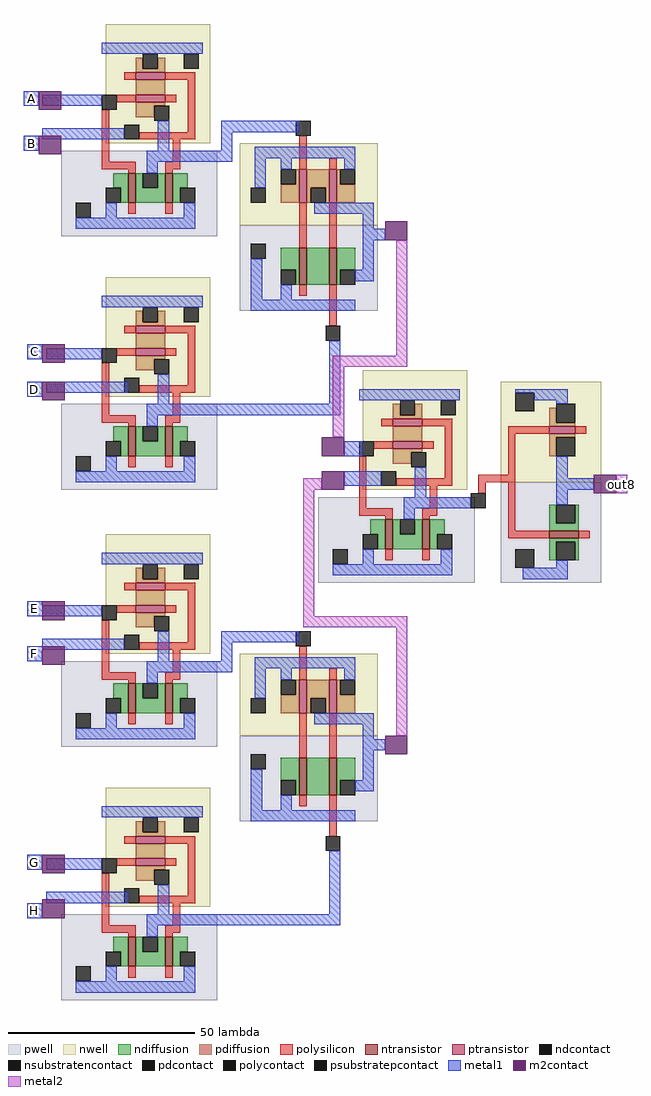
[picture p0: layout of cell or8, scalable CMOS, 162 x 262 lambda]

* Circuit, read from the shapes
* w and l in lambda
.subckt or8 A B C D E F G GND! H Vdd! out8
M1 or4_1/nand2_0/B G GND! GND! nfet w=8 l=2
M2 or4_1/nand2_0/A E GND! GND! nfet w=8 l=2
M3 or4_0/nand2_0/B C GND! GND! nfet w=8 l=2
M4 or4_0/nand2_0/A A GND! GND! nfet w=8 l=2
M5 GND! H or4_1/nand2_0/B GND! nfet w=8 l=2
M6 GND! F or4_1/nand2_0/A GND! nfet w=8 l=2
M7 GND! D or4_0/nand2_0/B GND! nfet w=8 l=2
M8 GND! B or4_0/nand2_0/A GND! nfet w=8 l=2
M9 n1 or4_1/nand2_0/A GND! GND! nfet w=10 l=2
M10 n2 or4_0/nand2_0/A GND! GND! nfet w=10 l=2
M11 nor2_0/B or4_1/nand2_0/B n1 GND! nfet w=10 l=2
M12 nor2_0/A or4_0/nand2_0/B n2 GND! nfet w=10 l=2
M13 inv_0/in nor2_0/A GND! GND! nfet w=8 l=2
M14 GND! nor2_0/B inv_0/in GND! nfet w=8 l=2
M15 out8 inv_0/in GND! GND! nfet w=8 l=2
M16 n3 G or4_1/nand2_0/B Vdd! pfet w=8 l=2
M17 Vdd! H n3 Vdd! pfet w=8 l=2
M18 n4 E or4_1/nand2_0/A Vdd! pfet w=8 l=2
M19 Vdd! F n4 Vdd! pfet w=8 l=2
M20 n5 C or4_0/nand2_0/B Vdd! pfet w=8 l=2
M21 Vdd! D n5 Vdd! pfet w=8 l=2
M22 n6 A or4_0/nand2_0/A Vdd! pfet w=8 l=2
M23 Vdd! B n6 Vdd! pfet w=8 l=2
M24 nor2_0/B or4_1/nand2_0/A Vdd! Vdd! pfet w=9 l=2
M25 nor2_0/A or4_0/nand2_0/A Vdd! Vdd! pfet w=9 l=2
M26 Vdd! or4_1/nand2_0/B nor2_0/B Vdd! pfet w=9 l=2
M27 Vdd! or4_0/nand2_0/B nor2_0/A Vdd! pfet w=9 l=2
M28 n7 nor2_0/A inv_0/in Vdd! pfet w=8 l=2
M29 Vdd! nor2_0/B n7 Vdd! pfet w=8 l=2
M30 Vdd! inv_0/in out8 Vdd! pfet w=7 l=2
.ends

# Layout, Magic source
magic
tech scmos
<< polysilicon >>
rect 115 2 123 4
rect 115 -1 117 2
<< polycontact >>
rect 113 -5 117 -1
<< metal1 >>
rect -7 103 -3 107
rect -7 91 -3 95
rect -6 35 -2 39
rect -6 25 -2 29
rect 79 9 84 13
rect 79 1 89 5
rect 144 0 146 3
rect 108 -5 113 -2
rect -6 -34 -2 -30
rect -6 -46 -2 -42
rect -6 -102 -2 -98
rect -6 -115 -2 -111
<< m2contact >>
rect -3 102 3 107
rect -3 90 3 95
rect 90 67 96 72
rect -2 34 4 39
rect -2 24 4 29
rect 73 9 79 14
rect 73 0 79 5
rect 146 -1 152 4
rect -2 -35 4 -30
rect -2 -47 4 -42
rect 90 -71 96 -66
rect -2 -103 4 -98
rect -2 -115 4 -110
<< metal2 >>
rect 93 36 96 67
rect 76 33 96 36
rect 76 14 79 33
rect 68 0 73 3
rect 68 -34 71 0
rect 152 -1 155 4
rect 68 -37 96 -34
rect 93 -66 96 -37
use or4  or4_0
transform 1 0 50 0 1 52
box -52 -52 40 73
use or4  or4_1
transform 1 0 50 0 1 -85
box -52 -52 40 73
use nor2  nor2_0
transform 1 0 66 0 1 -15
box 6 -10 48 47
use inv  inv_0
transform 1 0 133 0 1 10
box -12 -35 15 19
<< labels >>
rlabel metal2 152 -1 155 4 3 out8
rlabel metal1 -7 103 -3 107 7 A
rlabel metal1 -7 91 -3 95 7 B
rlabel metal1 -6 35 -2 39 7 C
rlabel metal1 -6 25 -2 29 7 D
rlabel metal1 -6 -34 -2 -30 7 E
rlabel metal1 -6 -46 -2 -42 7 F
rlabel metal1 -6 -102 -2 -98 7 G
rlabel metal1 -6 -115 -2 -111 7 H
<< end >>

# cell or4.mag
magic
tech scmos
<< metal1 >>
rect -52 51 -36 54
rect -52 42 -30 45
rect -4 44 17 47
rect -4 39 -1 44
rect -14 36 -1 39
rect 34 15 40 18
rect -51 -17 -36 -14
rect -51 -26 -29 -23
rect 25 -29 28 -12
rect -16 -32 28 -29
use nand2  nand2_0
transform 1 0 -9 0 1 3
box 10 -15 47 44
use nor2  nor2_0
transform 1 0 -53 0 1 26
box 6 -10 48 47
use nor2  nor2_1
transform 1 0 -53 0 1 -42
box 6 -10 48 47
<< labels >>
rlabel metal1 -50 -25 -50 -25 3 d
rlabel metal1 -50 -16 -50 -16 3 c
rlabel metal1 -51 52 -51 52 3 a
rlabel metal1 -51 43 -51 43 3 b
rlabel metal1 39 16 39 16 7 out4
<< end >>

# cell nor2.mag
magic
tech scmos
<< nwell >>
rect 18 15 46 47
<< pwell >>
rect 6 -10 48 13
<< ntransistor >>
rect 24 -1 26 7
rect 34 -1 36 7
<< ptransistor >>
rect 26 32 34 34
rect 26 26 34 28
<< ndiffusion >>
rect 20 3 24 7
rect 22 -1 24 3
rect 26 3 28 7
rect 32 3 34 7
rect 26 -1 34 3
rect 36 3 40 7
rect 36 -1 38 3
<< pdiffusion >>
rect 26 35 28 38
rect 32 35 34 38
rect 26 34 34 35
rect 26 28 34 32
rect 26 25 34 26
rect 26 22 31 25
<< ndcontact >>
rect 18 -1 22 3
rect 28 3 32 7
rect 38 -1 42 3
<< pdcontact >>
rect 28 35 32 39
rect 31 21 35 25
<< psubstratepcontact >>
rect 10 -5 14 -1
<< nsubstratencontact >>
rect 39 35 43 39
<< polysilicon >>
rect 23 32 26 34
rect 34 32 42 34
rect 21 26 26 28
rect 34 26 37 28
rect 17 10 19 24
rect 40 18 42 32
rect 27 16 42 18
rect 36 10 38 16
rect 17 8 26 10
rect 24 7 26 8
rect 34 8 38 10
rect 34 7 36 8
rect 24 -4 26 -1
rect 34 -4 36 -1
<< polycontact >>
rect 17 24 21 28
rect 23 16 27 20
<< metal1 >>
rect 17 39 44 42
rect 32 13 35 21
rect 29 10 42 13
rect 29 7 32 10
rect 18 -5 21 -1
rect 39 -5 42 -1
rect 10 -8 42 -5
<< labels >>
rlabel metal1 18 -8 42 -5 5 GND!
rlabel metal1 17 39 42 42 1 Vdd!
rlabel polycontact 17 24 21 28 7 A
rlabel polycontact 23 16 27 20 7 B
rlabel metal1 38 10 42 13 3 out
<< end >>

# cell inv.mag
magic
tech scmos
<< nwell >>
rect -12 -8 15 19
<< pwell >>
rect -12 -35 15 -8
<< ntransistor >>
rect 1 -23 9 -21
<< ptransistor >>
rect 1 5 8 7
<< ndiffusion >>
rect 1 -19 3 -14
rect 8 -19 9 -14
rect 1 -21 9 -19
rect 1 -24 9 -23
rect 1 -29 3 -24
rect 8 -29 9 -24
<< pdiffusion >>
rect 1 8 3 12
rect 1 7 8 8
rect 1 4 8 5
rect 1 -1 3 4
<< ndcontact >>
rect 3 -19 8 -14
rect 3 -29 8 -24
<< pdcontact >>
rect 3 8 8 13
rect 3 -1 8 4
<< psubstratepcontact >>
rect -8 -31 -3 -26
<< nsubstratencontact >>
rect -8 11 -3 16
<< polysilicon >>
rect -10 5 1 7
rect 8 5 11 7
rect -10 -6 -8 5
rect -12 -8 -8 -6
rect -10 -21 -8 -8
rect -10 -23 1 -21
rect 9 -23 12 -21
<< metal1 >>
rect -8 16 6 17
rect -3 14 6 16
rect 3 13 6 14
rect 3 -7 6 -1
rect 3 -10 11 -7
rect 3 -14 6 -10
rect 3 -31 6 -29
rect -6 -34 6 -31
<< labels >>
rlabel metal1 8 -10 11 -7 1 out
rlabel metal1 4 15 5 16 5 Vdd!
rlabel metal1 4 -33 5 -32 1 GND!
rlabel polysilicon -12 -8 -10 -6 3 in
<< end >>

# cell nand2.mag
magic
tech scmos
<< nwell >>
rect 10 16 47 38
<< pwell >>
rect 10 -7 47 16
<< ntransistor >>
rect 26 0 28 10
rect 34 0 36 10
<< ptransistor >>
rect 26 22 28 31
rect 34 22 36 31
<< ndiffusion >>
rect 21 4 26 10
rect 25 0 26 4
rect 28 0 34 10
rect 36 4 41 10
rect 36 0 37 4
<< pdiffusion >>
rect 25 27 26 31
rect 21 22 26 27
rect 28 26 34 31
rect 28 22 29 26
rect 33 22 34 26
rect 36 27 37 31
rect 36 22 41 27
<< ndcontact >>
rect 21 0 25 4
rect 37 0 41 4
<< pdcontact >>
rect 21 27 25 31
rect 29 22 33 26
rect 37 27 41 31
<< psubstratepcontact >>
rect 13 7 17 11
<< nsubstratencontact >>
rect 13 22 17 26
<< polysilicon >>
rect 26 31 28 40
rect 34 31 36 34
rect 26 10 28 22
rect 34 10 36 22
rect 26 -3 28 0
rect 34 -11 36 0
<< polycontact >>
rect 25 40 29 44
rect 33 -15 37 -11
<< metal1 >>
rect 14 34 41 37
rect 14 26 17 34
rect 21 31 24 34
rect 38 31 41 34
rect 30 19 46 22
rect 13 -4 16 7
rect 43 4 46 19
rect 41 1 46 4
rect 21 -4 24 0
rect 13 -7 41 -4
<< labels >>
rlabel metal1 14 34 41 37 1 Vdd!
rlabel metal1 13 -7 41 -4 5 GND!
rlabel metal1 43 12 46 15 3 out
port 3 e
rlabel polycontact 25 40 29 44 1 A
port 2 n
rlabel polycontact 33 -15 37 -11 5 B
port 1 s
<< end >>
